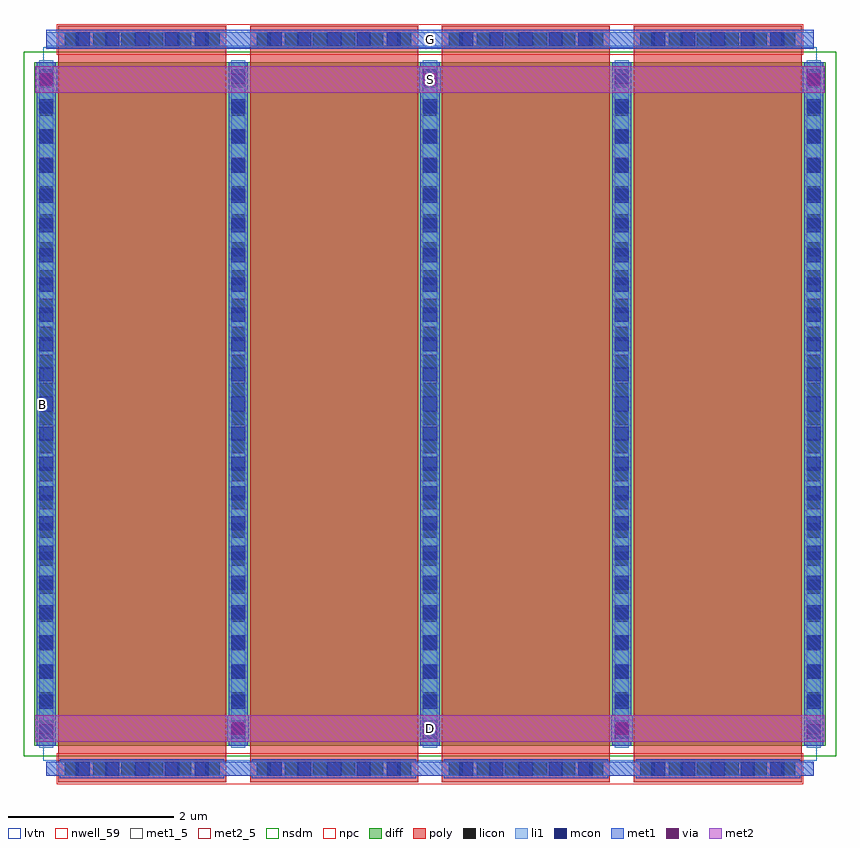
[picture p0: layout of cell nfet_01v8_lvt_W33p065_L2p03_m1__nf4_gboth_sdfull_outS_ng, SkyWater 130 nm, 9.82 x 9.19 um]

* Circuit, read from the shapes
.subckt nfet_01v8_lvt_W33p065_L2p03_m1__nf4_gboth_sdfull_outS_ng B D G S
XM1 D G S B sky130_fd_pr__nfet_01v8_lvt w=8.27 l=2.03 m=4
.ends

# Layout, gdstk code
import gdstk
lib = gdstk.Library(unit=1e-6, precision=1e-09)
def R(c, l, rs):  # rectangles x0, y0, x1, y1
    for r in rs: c.add(gdstk.rectangle(r[:2], r[2:], *l))
def A(c, l, x, y, w, h, nx, ny, dx, dy):  # array of equal rectangles
    R(c, l, [(x+i*dx, y+j*dy, x+i*dx+w, y+j*dy+h) for i in range(nx) for j in range(ny)])
nwell_59 = (64, 59)
diff = (65, 20)
poly = (66, 20)
licon = (66, 44)
li1 = (67, 20)
mcon = (67, 44)
met1_5 = (68, 5)
met1 = (68, 20)
via = (68, 44)
met2_5 = (69, 5)
met2 = (69, 20)
nsdm = (93, 44)
npc = (95, 20)
lvtn = (125, 44)

sky130_fd_pr__nfet_01v8_ = lib.new_cell('sky130_fd_pr__nfet_01v8_lvt_A8LSYS')
R(sky130_fd_pr__nfet_01v8_, diff, [(-4.785,-4.135,4.785,4.135)])
A(sky130_fd_pr__nfet_01v8_, poly, -4.495, -4.575, 2.03, 9.15, 4, 1, 2.32, 0)
A(sky130_fd_pr__nfet_01v8_, licon, -4.415, -4.495, 0.17, 0.17, 6, 2, 0.34, 8.82)
A(sky130_fd_pr__nfet_01v8_, licon, -2.095, -4.495, 0.17, 0.17, 6, 2, 0.34, 8.82)
A(sky130_fd_pr__nfet_01v8_, licon, 0.225, -4.495, 0.17, 0.17, 6, 2, 0.34, 8.82)
A(sky130_fd_pr__nfet_01v8_, licon, 2.545, -4.495, 0.17, 0.17, 6, 2, 0.34, 8.82)
A(sky130_fd_pr__nfet_01v8_, licon, -4.725, -3.995, 0.17, 0.17, 5, 24, 2.32, 0.34)
A(sky130_fd_pr__nfet_01v8_, li1, -4.725, -4.155, 0.17, 8.31, 5, 1, 2.32, 0)
R(sky130_fd_pr__nfet_01v8_, li1, [(-4.64,-4.495,4.64,-4.325), (-4.64,4.325,4.64,4.495)])
A(sky130_fd_pr__nfet_01v8_, mcon, -4.285, -4.495, 0.17, 0.17, 5, 2, 0.36, 8.82)
A(sky130_fd_pr__nfet_01v8_, mcon, -1.965, -4.495, 0.17, 0.17, 5, 2, 0.36, 8.82)
A(sky130_fd_pr__nfet_01v8_, mcon, 0.355, -4.495, 0.17, 0.17, 5, 2, 0.36, 8.82)
A(sky130_fd_pr__nfet_01v8_, mcon, 2.675, -4.495, 0.17, 0.17, 5, 2, 0.36, 8.82)
A(sky130_fd_pr__nfet_01v8_, mcon, -4.725, -4.045, 0.17, 0.17, 5, 23, 2.32, 0.36)
A(sky130_fd_pr__nfet_01v8_, met1, -4.475, -4.525, 1.99, 0.03, 4, 2, 2.32, 0.2)
A(sky130_fd_pr__nfet_01v8_, met1, -4.755, -4.135, 0.23, 8.27, 5, 1, 2.32, 0)
A(sky130_fd_pr__nfet_01v8_, met1, -4.475, 4.295, 1.99, 0.03, 4, 2, 2.32, 0.2)
R(sky130_fd_pr__nfet_01v8_, met1, [(-4.64,-4.495,4.64,-4.325), (-4.64,4.325,4.64,4.495)])
R(sky130_fd_pr__nfet_01v8_, nsdm, [(-4.91,-4.26,4.91,4.26)])
R(sky130_fd_pr__nfet_01v8_, npc, [(-4.515,-4.595,4.515,-4.225), (-4.515,4.225,4.515,4.595)])
R(sky130_fd_pr__nfet_01v8_, lvtn, [(-4.675,-4.315,4.675,4.315)])
sky130_fd_pr__nfet_01v8_.add(gdstk.Label('D0', (-4.64,0), layer=67, texttype=5))
sky130_fd_pr__nfet_01v8_.add(gdstk.Label('G', (3.48,4.41), layer=67, texttype=5))
sky130_fd_pr__nfet_01v8_.add(gdstk.Label('G', (1.16,4.41), layer=67, texttype=5))
sky130_fd_pr__nfet_01v8_.add(gdstk.Label('G', (-1.16,4.41), layer=67, texttype=5))
sky130_fd_pr__nfet_01v8_.add(gdstk.Label('G', (-3.48,4.41), layer=67, texttype=5))
sky130_fd_pr__nfet_01v8_.add(gdstk.Label('S1', (-2.32,0), layer=67, texttype=5))
sky130_fd_pr__nfet_01v8_.add(gdstk.Label('D2', (0,0), layer=67, texttype=5))
sky130_fd_pr__nfet_01v8_.add(gdstk.Label('S3', (2.32,0), layer=67, texttype=5))

nfet_01v8_lvt_w33p065_l2 = lib.new_cell('nfet_01v8_lvt_W33p065_L2p03_m1__nf4_gboth_sdfull_outS_ng')
R(nfet_01v8_lvt_w33p065_l2, nwell_59, [(0.05,4.525,0.15,4.625)])
R(nfet_01v8_lvt_w33p065_l2, met1_5, [(0.145,8.87,9.425,9.1)])
A(nfet_01v8_lvt_w33p065_l2, met1, 0.015, 8.34, 0.26, 0.32, 3, 1, 4.64, 0)
R(nfet_01v8_lvt_w33p065_l2, met1, [(2.335,0.49,2.595,0.81), (6.975,0.49,7.235,0.81), (0.145,8.87,9.425,9.1)])
A(nfet_01v8_lvt_w33p065_l2, via, 0.07, 8.425, 0.15, 0.15, 3, 1, 4.64, 0)
R(nfet_01v8_lvt_w33p065_l2, via, [(2.39,0.575,2.54,0.725), (7.03,0.575,7.18,0.725)])
R(nfet_01v8_lvt_w33p065_l2, met2_5, [(0.01,0.49,9.56,0.81), (0.01,8.34,9.56,8.66)])
R(nfet_01v8_lvt_w33p065_l2, met2, [(0.01,0.49,9.56,0.81), (0.01,8.34,9.56,8.66)])
nfet_01v8_lvt_w33p065_l2.add(gdstk.Reference(sky130_fd_pr__nfet_01v8_, (4.785,4.575)))
nfet_01v8_lvt_w33p065_l2.add(gdstk.Label('S', (4.785,8.5), layer=69, texttype=5))
nfet_01v8_lvt_w33p065_l2.add(gdstk.Label('D', (4.785,0.65), layer=69, texttype=5))
nfet_01v8_lvt_w33p065_l2.add(gdstk.Label('G', (4.785,8.985), layer=68, texttype=5))
nfet_01v8_lvt_w33p065_l2.add(gdstk.Label('B', (0.1,4.575), layer=64, texttype=59))

lib.write_gds('nfet_01v8_lvt_W33p065_L2p03_m1__nf4_gboth_sdfull_outS_ng.gds')
